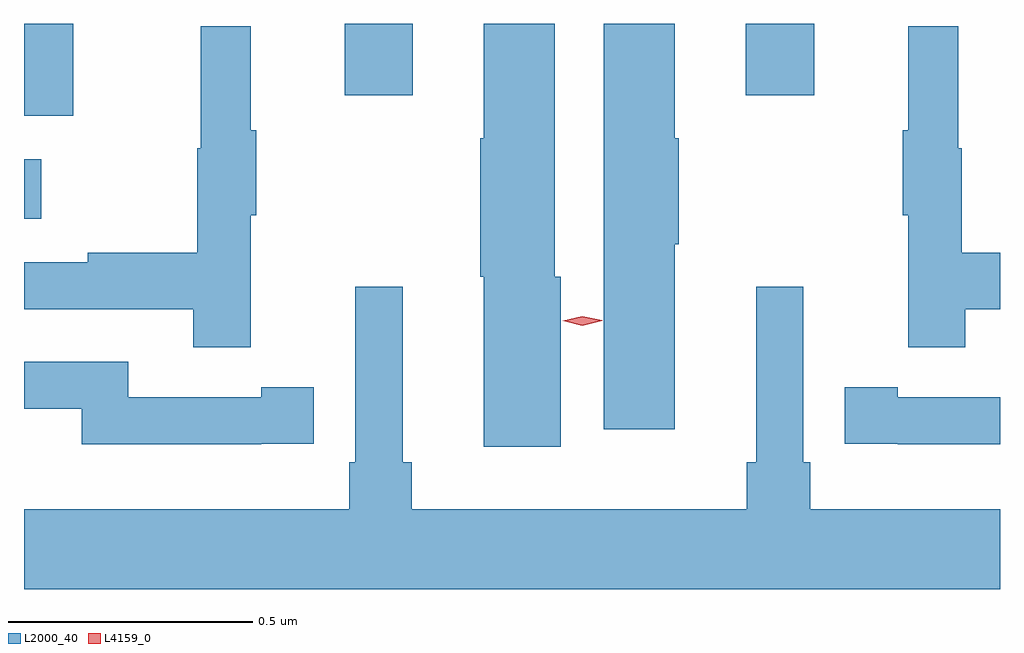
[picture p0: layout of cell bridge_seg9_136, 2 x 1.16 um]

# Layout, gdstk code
import gdstk
lib = gdstk.Library(unit=1e-6, precision=1e-09)
def R(c, l, rs):  # rectangles x0, y0, x1, y1
    for r in rs: c.add(gdstk.rectangle(r[:2], r[2:], *l))
def P(c, l, *ps):  # polygons
    for p in ps: c.add(gdstk.Polygon(p, *l))
L2000_40 = (2000, 40)
L4159_0 = (4159, 0)

bridge_seg9_136 = lib.new_cell('bridge_seg9_136')
R(bridge_seg9_136, L2000_40, [(390.392,1191.851,390.427,1191.973), (390.392,1192.062,390.493,1192.251), (391.049,1192.104,391.189,1192.251), (391.871,1192.104,392.011,1192.251)])
P(bridge_seg9_136, L2000_40, [(391.492,1191.732),(391.48,1191.732),(391.48,1192.251),(391.334,1192.251),(391.334,1192.016),(391.327,1192.016),(391.327,1191.732),(391.334,1191.732),(391.334,1191.384),(391.492,1191.384)],
  [(391.726,1191.799),(391.734,1191.799),(391.734,1192.016),(391.726,1192.016),(391.726,1192.251),(391.58,1192.251),(391.58,1191.42),(391.726,1191.42)],
  [(390.857,1191.859),(390.868,1191.859),(390.868,1192.033),(390.857,1192.033),(390.857,1192.246),(390.754,1192.246),(390.754,1191.996),(390.747,1191.996),(390.747,1191.782),(390.523,1191.782),(390.523,1191.762),(390.392,1191.762),(390.392,1191.666),(390.739,1191.666),(390.739,1191.588),(390.857,1191.588)],
  [(392.321,1191.666),(392.392,1191.666),(392.392,1191.782),(392.314,1191.782),(392.314,1191.996),(392.306,1191.996),(392.306,1192.246),(392.204,1192.246),(392.204,1192.033),(392.193,1192.033),(392.193,1191.859),(392.204,1191.859),(392.204,1191.588),(392.321,1191.588)],
  [(392.392,1191.256),(392.003,1191.256),(392.003,1191.352),(391.989,1191.352),(391.989,1191.712),(391.892,1191.712),(391.892,1191.352),(391.873,1191.352),(391.873,1191.256),(391.187,1191.256),(391.187,1191.352),(391.168,1191.352),(391.168,1191.712),(391.071,1191.712),(391.071,1191.352),(391.058,1191.352),(391.058,1191.256),(390.392,1191.256),(390.392,1191.092),(392.392,1191.092)],
  [(390.878,1191.39),(390.986,1191.39),(390.986,1191.506),(390.878,1191.506),(390.878,1191.486),(390.606,1191.486),(390.606,1191.558),(390.392,1191.558),(390.392,1191.462),(390.51,1191.462),(390.51,1191.389),(390.878,1191.389)],
  [(392.392,1191.486),(392.182,1191.486),(392.182,1191.506),(392.074,1191.506),(392.074,1191.39),(392.182,1191.39),(392.182,1191.389),(392.392,1191.389)])
P(bridge_seg9_136, L4159_0, [(391.536,1191.632),(391.496,1191.642),(391.495,1191.642),(391.496,1191.642),(391.536,1191.652),(391.577,1191.643),(391.577,1191.642),(391.577,1191.642)])

lib.write_gds('bridge_seg9_136.gds')
